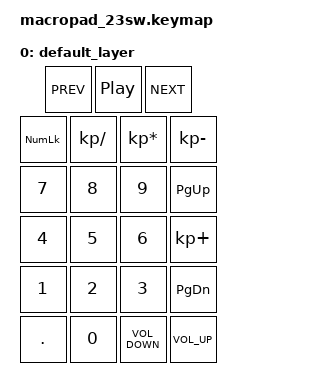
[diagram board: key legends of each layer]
#include <behaviors.dtsi>
#include <dt-bindings/zmk/keys.h>

/ {
    keymap {
        compatible = "zmk,keymap";

        default_layer {
            bindings = <
    &kp C_PREV &kp C_PLAY_PAUSE &kp C_NEXT
    &kp KP_NUM &kp KP_SLASH &kp KP_ASTERISK &kp KP_MINUS
    &kp N7 &kp N8 &kp N9 &kp PG_UP
    &kp N4 &kp N5 &kp N6 &kp KP_PLUS
    &kp N1 &kp N2 &kp N3 &kp PG_DN
    &kp DOT &kp N0 &kp C_VOLUME_DOWN &kp C_VOLUME_UP
            >;

        };
    };
};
